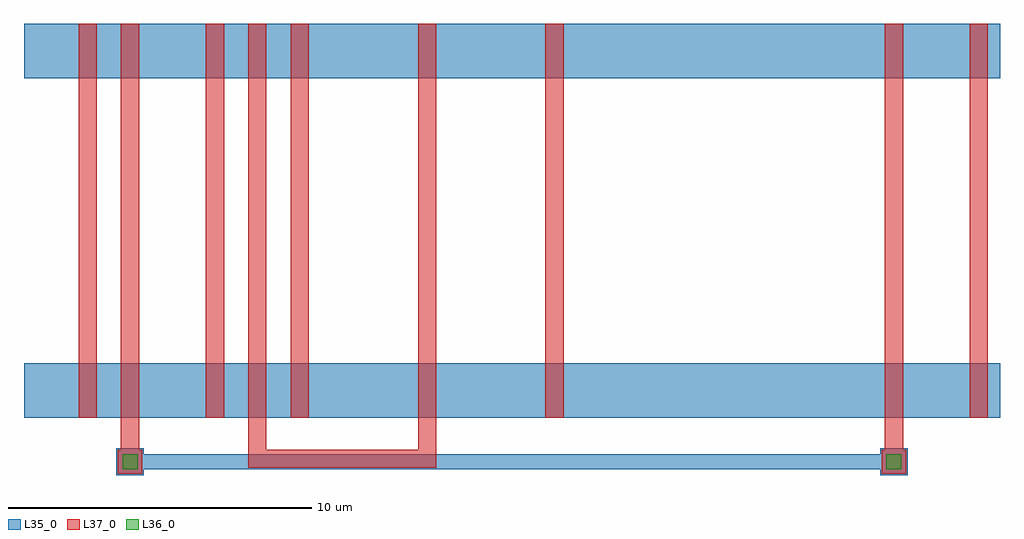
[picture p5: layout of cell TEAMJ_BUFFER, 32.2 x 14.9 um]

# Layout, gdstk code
import gdstk
lib = gdstk.Library(unit=1e-6, precision=1e-09)
def R(c, l, rs):  # rectangles x0, y0, x1, y1
    for r in rs: c.add(gdstk.rectangle(r[:2], r[2:], *l))
L35_0 = (35, 0)
L36_0 = (36, 0)
L37_0 = (37, 0)

via1 = lib.new_cell('VIA1')
R(via1, L35_0, [(-0.45,-0.45,0.45,0.45)])
R(via1, L36_0, [(-0.25,-0.25,0.25,0.25)])
R(via1, L37_0, [(-0.4,-0.4,0.4,0.4)])

dfc1_h = lib.new_cell('DFC1_H')
R(dfc1_h, L35_0, [(0,0,23.8,1.8), (0,11.2,23.8,13)])
dfc1_h.add(gdstk.FlexPath([(23.1,13),(23.1,0)], 0.6, ends="flush", simple_path=True, layer=37, datatype=0))  # L37_0
dfc1_h.add(gdstk.FlexPath([(20.3,0),(20.3,13)], 0.6, ends="flush", simple_path=True, layer=37, datatype=0))  # L37_0
dfc1_h.add(gdstk.FlexPath([(9.1,13),(9.1,0)], 0.6, ends="flush", simple_path=True, layer=37, datatype=0))  # L37_0
dfc1_h.add(gdstk.FlexPath([(4.9,0),(4.9,13)], 0.6, ends="flush", simple_path=True, layer=37, datatype=0))  # L37_0
dfc1_h.add(gdstk.FlexPath([(0.7,0),(0.7,13)], 0.6, ends="flush", simple_path=True, layer=37, datatype=0))  # L37_0
dfc1_h.add(gdstk.Label('DFC1', (11.9,6.5), layer=61, texttype=0))
dfc1_h.add(gdstk.Label('QN', (23.1,0), layer=37, texttype=0))
dfc1_h.add(gdstk.Label('Q', (20.3,0), layer=37, texttype=0))
dfc1_h.add(gdstk.Label('RN', (9.1,0), layer=37, texttype=0))
dfc1_h.add(gdstk.Label('D', (4.9,0), layer=37, texttype=0))
dfc1_h.add(gdstk.Label('C', (0.7,0), layer=37, texttype=0))
dfc1_h.add(gdstk.Label('QN', (23.1,13), layer=37, texttype=0))
dfc1_h.add(gdstk.Label('Q', (20.3,13), layer=37, texttype=0))
dfc1_h.add(gdstk.Label('RN', (9.1,13), layer=37, texttype=0))
dfc1_h.add(gdstk.Label('D', (4.9,13), layer=37, texttype=0))
dfc1_h.add(gdstk.Label('C', (0.7,13), layer=37, texttype=0))
dfc1_h.add(gdstk.Label('gnd', (0,0.9), layer=35, texttype=0))
dfc1_h.add(gdstk.Label('vdd', (0,12.1), layer=35, texttype=0))
dfc1_h.add(gdstk.Label('vdd', (23.8,12.1), layer=35, texttype=0))
dfc1_h.add(gdstk.Label('gnd', (23.8,0.9), layer=35, texttype=0))

mux21_h = lib.new_cell('MUX21_H')
R(mux21_h, L35_0, [(0,0,8.4,1.8), (0,11.2,8.4,13)])
mux21_h.add(gdstk.FlexPath([(7.7,13),(7.7,0)], 0.6, ends="flush", simple_path=True, layer=37, datatype=0))  # L37_0
mux21_h.add(gdstk.FlexPath([(6.3,0),(6.3,13)], 0.6, ends="flush", simple_path=True, layer=37, datatype=0))  # L37_0
mux21_h.add(gdstk.FlexPath([(3.5,13),(3.5,0)], 0.6, ends="flush", simple_path=True, layer=37, datatype=0))  # L37_0
mux21_h.add(gdstk.FlexPath([(2.1,0),(2.1,13)], 0.6, ends="flush", simple_path=True, layer=37, datatype=0))  # L37_0
mux21_h.add(gdstk.Label('MUX21', (4.2,6.5), layer=61, texttype=0))
mux21_h.add(gdstk.Label('Q', (7.7,0), layer=37, texttype=0))
mux21_h.add(gdstk.Label('B', (6.3,0), layer=37, texttype=0))
mux21_h.add(gdstk.Label('A', (3.5,0), layer=37, texttype=0))
mux21_h.add(gdstk.Label('S', (2.1,0), layer=37, texttype=0))
mux21_h.add(gdstk.Label('Q', (7.7,13), layer=37, texttype=0))
mux21_h.add(gdstk.Label('B', (6.3,13), layer=37, texttype=0))
mux21_h.add(gdstk.Label('A', (3.5,13), layer=37, texttype=0))
mux21_h.add(gdstk.Label('S', (2.1,13), layer=37, texttype=0))
mux21_h.add(gdstk.Label('vdd', (0,12.1), layer=35, texttype=0))
mux21_h.add(gdstk.Label('vdd', (8.4,12.1), layer=35, texttype=0))
mux21_h.add(gdstk.Label('gnd', (0,0.9), layer=35, texttype=0))
mux21_h.add(gdstk.Label('gnd', (8.4,0.9), layer=35, texttype=0))

teamj_buffer = lib.new_cell('TEAMJ_BUFFER')
teamj_buffer.add(gdstk.FlexPath([(-7.55,-7.45),(16.75,-7.45)], 0.5, ends="flush", simple_path=True, layer=35, datatype=0))  # L35_0
teamj_buffer.add(gdstk.FlexPath([(-8,-7.05),(-8,-6)], 0.6, ends="flush", simple_path=True, layer=37, datatype=0))  # L37_0
teamj_buffer.add(gdstk.FlexPath([(17.2,-7.05),(17.2,-6)], 0.6, ends="flush", simple_path=True, layer=37, datatype=0))  # L37_0
teamj_buffer.add(gdstk.FlexPath([(1.8,-6),(1.8,-7.35),(-3.8,-7.35),(-3.8,-6)], 0.6, ends="flush", simple_path=True, layer=37, datatype=0))  # L37_0
teamj_buffer.add(gdstk.Reference(via1, (-8,-7.45)))
teamj_buffer.add(gdstk.Reference(via1, (17.2,-7.45)))
teamj_buffer.add(gdstk.Reference(dfc1_h, (-3.1,-6)))
teamj_buffer.add(gdstk.Reference(mux21_h, (-11.5,-6)))

lib.write_gds('TEAMJ_BUFFER.gds')
